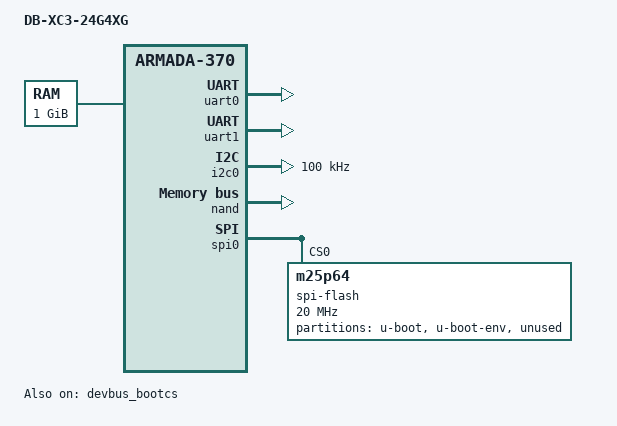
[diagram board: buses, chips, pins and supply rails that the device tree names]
// SPDX-License-Identifier: (GPL-2.0+ OR MIT)
/*
 * Device Tree file for DB-XC3-24G4XG board
 *
 * Copyright (C) 2016 Allied Telesis Labs
 *
 * Based on armada-xp-db.dts
 *
 * Note: this Device Tree assumes that the bootloader has remapped the
 * internal registers to 0xf1000000 (instead of the default
 * 0xd0000000). The 0xf1000000 is the default used by the recent,
 * DT-capable, U-Boot bootloaders provided by Marvell. Some earlier
 * boards were delivered with an older version of the bootloader that
 * left internal registers mapped at 0xd0000000. If you are in this
 * situation, you should either update your bootloader (preferred
 * solution) or the below Device Tree should be adjusted.
 */

/dts-v1/;
#include "armada-xp-98dx3336.dtsi"

/ {
	model = "DB-XC3-24G4XG";
	compatible = "marvell,db-xc3-24g4xg", "marvell,armadaxp-98dx3336", "marvell,armada-370-xp";

	chosen {
		bootargs = "console=ttyS0,115200 earlyprintk";
	};

	memory {
		device_type = "memory";
		reg = <0 0x00000000 0 0x40000000>; /* 1 GB */
	};
};

&devbus_bootcs {
	status = "okay";

	/* Device Bus parameters are required */

	/* Read parameters */
	devbus,bus-width    = <16>;
	devbus,turn-off-ps  = <60000>;
	devbus,badr-skew-ps = <0>;
	devbus,acc-first-ps = <124000>;
	devbus,acc-next-ps  = <248000>;
	devbus,rd-setup-ps  = <0>;
	devbus,rd-hold-ps   = <0>;

	/* Write parameters */
	devbus,sync-enable = <0>;
	devbus,wr-high-ps  = <60000>;
	devbus,wr-low-ps   = <60000>;
	devbus,ale-wr-ps   = <60000>;
};

&uart0 {
	status = "okay";
};

&uart1 {
	status = "okay";
};

&i2c0 {
	clock-frequency = <100000>;
	status = "okay";
};

&nand {
	status = "okay";
	num-cs = <1>;
	marvell,nand-keep-config;
	marvell,nand-enable-arbiter;
	nand-on-flash-bbt;
	nand-ecc-strength = <4>;
	nand-ecc-step-size = <512>;
};

&spi0 {
	status = "okay";

	spi-flash@0 {
		#address-cells = <1>;
		#size-cells = <1>;
		compatible = "m25p64";
		reg = <0>; /* Chip select 0 */
		spi-max-frequency = <20000000>;
		m25p,fast-read;

		partition@u-boot {
			reg = <0x00000000 0x00100000>;
			label = "u-boot";
		};
		partition@u-boot-env {
			reg = <0x00100000 0x00040000>;
			label = "u-boot-env";
		};
		partition@unused {
			reg = <0x00140000 0x00ec0000>;
			label = "unused";
		};

	};
};
